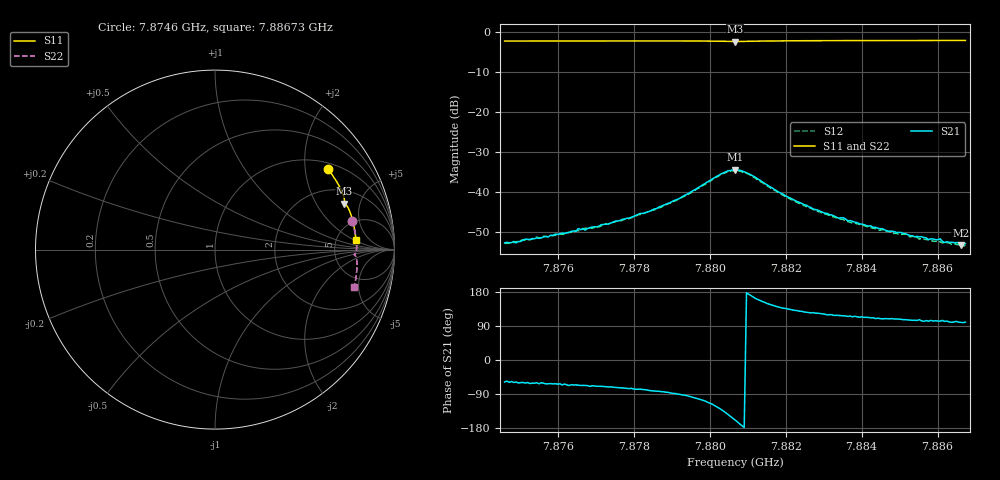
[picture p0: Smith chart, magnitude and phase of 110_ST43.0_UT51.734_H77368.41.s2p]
#  HZ  S  DB  R  50.00
! Rohde & Schwarz Vector Network Analyzer
! Rohde-Schwarz,ZNB20-2Port,1311601062101988,3.16
! Created: UTC 1/12/2023, 6:37:25 PM
! freq[Hz]  db:S11  ang:S11  db:S21  ang:S21  db:S12  ang:S12  db:S22  ang:S22
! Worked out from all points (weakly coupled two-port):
!   201 points, 7.8746 GHz to 7.88673 GHz, reference 50 ohm
!   highest |S21| = -34.39 dB at 7.88067 GHz (marker M1); lowest = -53.2 dB at 7.88661 GHz (marker M2)
!   lowest |S11| = -2.3 dB at 7.88067 GHz (marker M3), VSWR 7.47, Z = 144 + j177 ohm
!   |S11| at or under -10 dB: nowhere
!   |S22| runs from -2.2 to -1.9 dB; largest |S21 - S12| = 0.0013
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7.874602e9  -2.24 35.7  -52.63 -58.0  -52.77 -61.4  -2.15 11.6
7.874905e9  -2.23 34.9  -52.64 -58.0  -52.39 -62.2  -2.13 10.9
7.875147e9  -2.23 34.2  -51.72 -60.8  -52.00 -61.8  -2.13 10.3
7.876178e9  -2.21 31.4  -50.28 -63.4  -50.55 -67.9  -2.09 7.9
7.876664e9  -2.20 30.0  -49.06 -66.9  -49.09 -70.2  -2.09 6.7
7.876724e9  -2.21 29.8  -49.47 -67.2  -49.02 -70.1  -2.09 6.6
7.877877e9  -2.19 26.7  -46.46 -75.5  -46.57 -78.3  -2.05 3.9
7.878665e9  -2.19 24.5  -43.66 -82.3  -43.94 -86.5  -2.05 2.0
7.879211e9  -2.20 22.9  -41.51 -90.7  -41.59 -94.3  -2.06 0.7
7.880364e9  -2.31 19.9  -35.17 -134.7  -35.27 -138.3  -2.17 -1.9
7.880667e9  -2.34 19.6  -34.39 -158.2  -34.61 -161.9  -2.20 -2.1
7.881031e9  -2.29 19.2  -35.40 173.1  -35.52 169.9  -2.16 -2.3
7.882001e9  -2.17 16.7  -40.88 135.9  -41.14 131.9  -2.02 -4.3
7.882729e9  -2.14 14.7  -44.22 125.0  -44.31 120.4  -1.99 -6.1
7.883396e9  -2.12 12.9  -46.47 117.6  -46.71 114.6  -1.97 -7.6
7.884731e9  -2.10 9.3  -49.75 108.6  -49.86 104.9  -1.93 -10.6
7.885762e9  -2.09 6.6  -51.82 102.2  -51.91 101.1  -1.93 -12.8
7.886065e9  -2.09 5.8  -51.62 102.4  -52.33 100.1  -1.93 -13.5
7.886186e9  -2.09 5.5  -52.56 101.8  -52.46 98.4  -1.92 -13.8
7.88655e9  -2.08 4.5  -52.56 99.8  -53.08 96.8  -1.92 -14.5
7.886611e9  -2.08 4.4  -53.17 99.5  -53.25 96.4  -1.92 -14.7
7.886732e9  -2.08 4.1  -52.82 99.9  -53.22 95.8  -1.92 -14.9
